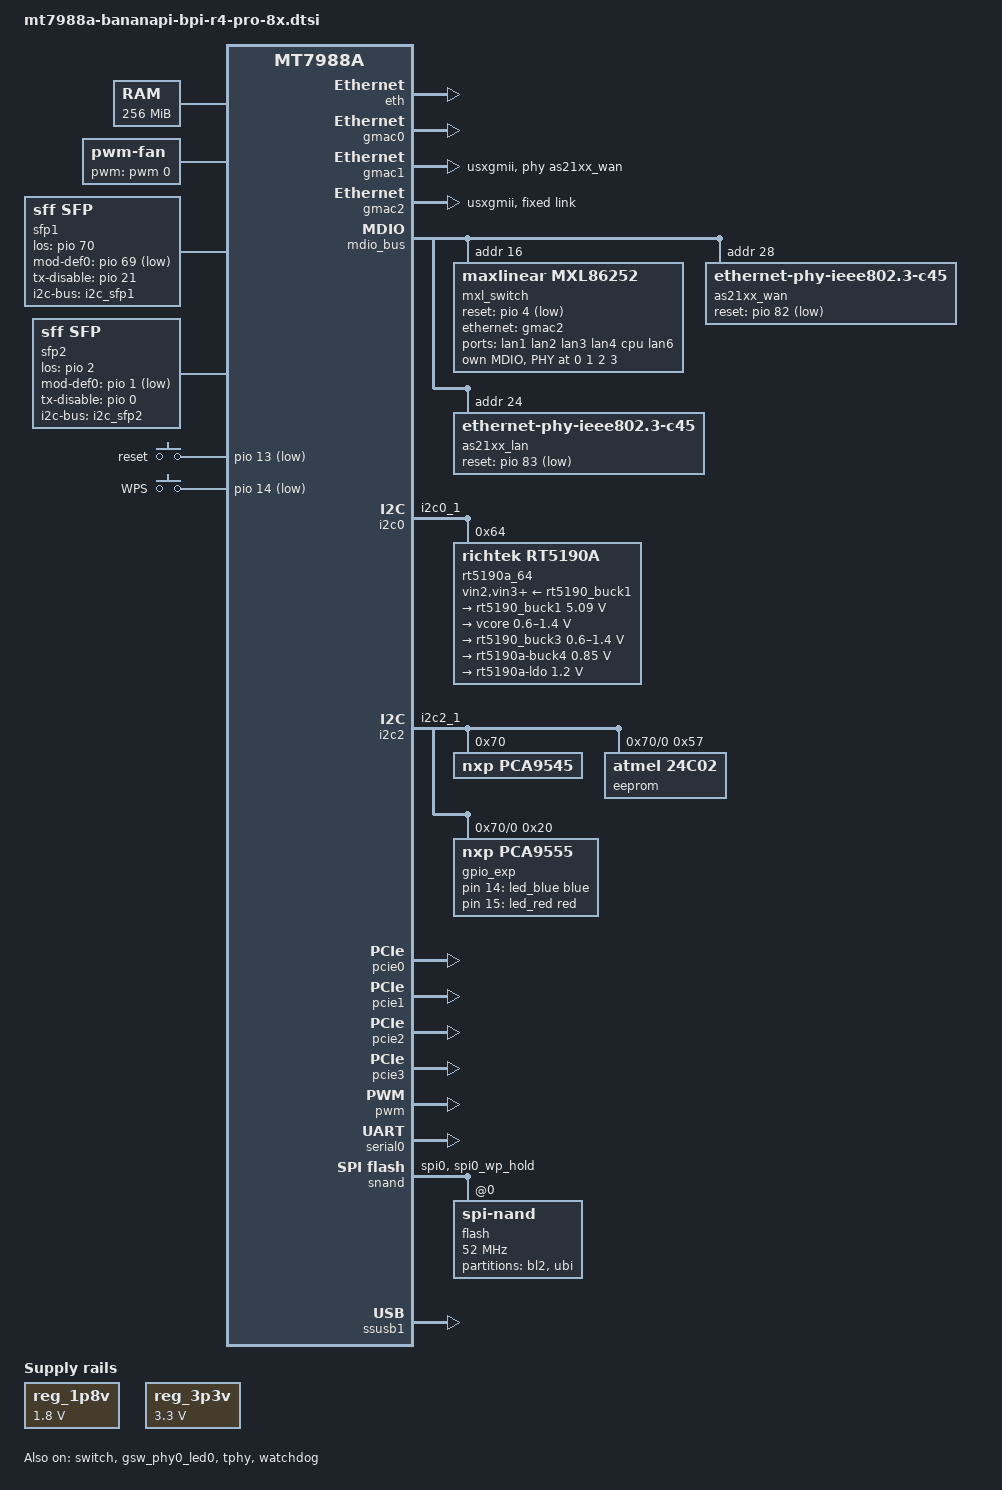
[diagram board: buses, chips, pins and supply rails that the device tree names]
// SPDX-License-Identifier: (GPL-2.0 OR MIT)
/*
 * Copyright (C) 2024 MediaTek Inc.
 * Copyright (C) 2024 Banana Pi community
 *
 * Device tree for the Banana Pi BPI-R4 Pro 8X router board (MT7988A)
 *
 * Hardware overview:
 *   - SoC: MediaTek MT7988A (Filogic 880), Quad Cortex-A73 @ 1.8GHz
 *   - RAM: 8 GB DDR4 (always 8GB on the 8X variant)
 *   - Storage: 8 GB eMMC + 256 MB SPI-NAND + microSD
 *
 * Network topology:
 *   - gmac0 -> Internal MT7988A GbE switch (1 port used: lan5)
 *   - gmac1 (USXGMII_1) -> 10G WAN combo port
 *       Muxed via GPIO3: Low=RJ45 (AS21010P PHY), High=SFP+ cage
 *   - gmac2 (USXGMII_0) -> MxL86252C DSA switch CPU uplink (10G fixed-link)
 *       MxL switch provides:
 *         - 4x 2.5GbE RJ45 LAN ports (lan1-lan4) via internal PHYs
 *         - 1x 10G LAN combo port (lan6) via XPCS1 SerDes
 *           Muxed via GPIO54: Low=SFP+ cage, High=RJ45 (AS21010P PHY)
 *
 * Chassis port labels (left to right):
 *   lan1-lan4 (2.5G MxL), lan5 (1G internal), 10G RJ45 LAN combo,
 *   10G SFP+ LAN combo, 10G SFP+ WAN combo, 10G RJ45 WAN combo
 *
 * Combo port mux control (via UCI gpio_switches, GPIO numbers 515/566):
 *   GPIO3  (515): WAN combo - Low=RJ45, High=SFP+
 *   GPIO54 (566): LAN combo - Low=SFP+, High=RJ45
 */

/dts-v1/;

#include <dt-bindings/gpio/gpio.h>
#include <dt-bindings/input/input.h>
#include <dt-bindings/leds/common.h>
#include <dt-bindings/regulator/richtek,rt5190a-regulator.h>

#include "mt7988a.dtsi"

/ {
	chosen {
		stdout-path = "serial0:115200n8";
		bootargs = "console=ttyS0,115200n1 pci=pcie_bus_perf ubi.block=0,fit root=/dev/fit0";
		rootdisk-spim-nand = <&ubi_rootfs>;
	};

	aliases {
		ethernet0 = &gmac0;
		ethernet1 = &gmac1;
		ethernet2 = &gmac2;
		serial0 = &serial0;
		/* Blue LED = activity/boot/running/upgrade, Red LED = failsafe only */
		led-boot = &led_blue;
		led-failsafe = &led_red;
		led-running = &led_blue;
		led-upgrade = &led_blue;
	};

	/* Default 256MB, U-Boot overrides to actual 8GB at boot */
	memory@40000000 {
		reg = <0x00 0x40000000 0x00 0x10000000>;
		device_type = "memory";
	};

	fan: pwm-fan {
		compatible = "pwm-fan";
		/* cooling level (0, 1, 2, 3) : (0% duty, 30% duty, 50% duty, 100% duty) */
		cooling-levels = <0 80 128 255>;
		#cooling-cells = <2>;
		pwms = <&pwm 0 50000>;
		status = "okay";
	};

	reg_1p8v: regulator-1p8v {
		compatible = "regulator-fixed";
		regulator-name = "fixed-1.8V";
		regulator-min-microvolt = <1800000>;
		regulator-max-microvolt = <1800000>;
		regulator-boot-on;
		regulator-always-on;
	};

	reg_3p3v: regulator-3p3v {
		compatible = "regulator-fixed";
		regulator-name = "fixed-3.3V";
		regulator-min-microvolt = <3300000>;
		regulator-max-microvolt = <3300000>;
		regulator-boot-on;
		regulator-always-on;
	};

	/*
	 * SFP1 cage (WAN side)
	 * Connected to gmac1 (USXGMII_1), shared with AS21010P WAN PHY.
	 * GPIO3 mux selects between SFP+ (High) and RJ45 (Low).
	 * TX_FAULT and RATE_SELECT are not connected on this board.
	 */
	sfp1: sfp1 {
		compatible = "sff,sfp";
		i2c-bus = <&i2c_sfp1>;
		los-gpios = <&pio 70 GPIO_ACTIVE_HIGH>;
		mod-def0-gpios = <&pio 69 GPIO_ACTIVE_LOW>;
		tx-disable-gpios = <&pio 21 GPIO_ACTIVE_HIGH>;
		maximum-power-milliwatt = <3000>;
	};

	/*
	 * SFP2 cage (LAN side)
	 * Connected to MxL86252C XPCS1 SerDes (port@13), shared with AS21010P LAN PHY.
	 * GPIO54 mux selects between SFP+ (Low) and RJ45 (High).
	 * TX_FAULT and RATE_SELECT are not connected on this board.
	 */
	sfp2: sfp2 {
		compatible = "sff,sfp";
		i2c-bus = <&i2c_sfp2>;
		los-gpios = <&pio 2 GPIO_ACTIVE_HIGH>;
		mod-def0-gpios = <&pio 1 GPIO_ACTIVE_LOW>;
		tx-disable-gpios = <&pio 0 GPIO_ACTIVE_HIGH>;
		maximum-power-milliwatt = <3000>;
	};

	gpio-keys {
		compatible = "gpio-keys";

		reset {
			label = "reset";
			linux,code = <KEY_RESTART>;
			gpios = <&pio 13 GPIO_ACTIVE_LOW>;
		};

		wps {
			label = "WPS";
			linux,code = <KEY_WPS_BUTTON>;
			gpios = <&pio 14 GPIO_ACTIVE_LOW>;
		};
	};

	/*
	 * Board status LEDs on PCA9555 GPIO expander (I2C mux ch0, addr 0x20).
	 * Active high polarity (verified on hardware).
	 * Green power LED is hardwired (always on, not controllable).
	 */
	gpio-leds {
		compatible = "gpio-leds";

		led_blue: led-blue {
			function = LED_FUNCTION_ACTIVITY;
			color = <LED_COLOR_ID_BLUE>;
			gpios = <&gpio_exp 14 GPIO_ACTIVE_HIGH>;
			default-state = "off";
		};

		led_red: led-red {
			function = LED_FUNCTION_FAULT;
			color = <LED_COLOR_ID_RED>;
			gpios = <&gpio_exp 15 GPIO_ACTIVE_HIGH>;
			default-state = "off";
		};
	};
};

/* CPU voltage scaling - RT5190A PMIC BUCK3 */
&cpu0 {
	proc-supply = <&rt5190_buck3>;
};

&cpu1 {
	proc-supply = <&rt5190_buck3>;
};

&cpu2 {
	proc-supply = <&rt5190_buck3>;
};

&cpu3 {
	proc-supply = <&rt5190_buck3>;
};

&cci {
	proc-supply = <&rt5190_buck3>;
};

/*
 * Thermal management - 3 active cooling levels + PWM fan.
 * Trips and cooling-maps must be defined here because the base
 * mt7988a.dtsi only provides the critical trip; board-specific
 * active cooling trips are added per-board.
 */
&cpu_thermal {
	trips {
		cpu_trip_active_high: active-high {
			temperature = <115000>;
			hysteresis = <2000>;
			type = "active";
		};

		cpu_trip_active_med: active-med {
			temperature = <85000>;
			hysteresis = <2000>;
			type = "active";
		};

		cpu_trip_active_low: active-low {
			temperature = <40000>;
			hysteresis = <2000>;
			type = "active";
		};
	};

	cooling-maps {
		map-cpu-active-high {
			/* active: set fan to cooling level 3 */
			cooling-device = <&fan 3 3>;
			trip = <&cpu_trip_active_high>;
		};

		map-cpu-active-med {
			/* active: set fan to cooling level 2 */
			cooling-device = <&fan 2 2>;
			trip = <&cpu_trip_active_med>;
		};

		map-cpu-active-low {
			/* active: set fan to cooling level 1 */
			cooling-device = <&fan 1 1>;
			trip = <&cpu_trip_active_low>;
		};
	};
};

&eth {
	status = "okay";
};

/* gmac0 - conduit for internal MT7988A GbE switch (lan5) */
&gmac0 {
	status = "okay";
};

/*
 * gmac1 (USXGMII_1) - WAN 10G combo port
 * Default mode: RJ45 via AS21010P PHY at MDIO address 0x1c.
 * SFP+ mode available by toggling GPIO3 high (via UCI gpio_switch).
 * In-band status used for auto-negotiation (supports 10G/5G/2.5G/1G).
 */
&gmac1 {
	phy-handle = <&as21xx_wan>;
	managed = "in-band-status";
	phy-mode = "usxgmii";
	openwrt,netdev-name = "wan";
	status = "okay";
};

/*
 * gmac2 (USXGMII_0) - MxL86252C DSA switch CPU uplink
 * Fixed 10Gbps link to the switch's XPCS0 SerDes (port@9).
 */
&gmac2 {
	phy-mode = "usxgmii";
	status = "okay";

	fixed-link {
		speed = <10000>;
		full-duplex;
	};
};

/*
 * Internal MT7988A GbE switch - only port 0 is used on R4 Pro 8X.
 * Chassis label: "1Gbps LAN 5"
 * Single amber LED (led0) for link/activity (hardware-controlled by PHY).
 * Green LED (led1) is not connected on this board (marked X on schematic).
 */
&switch {
	status = "okay";
};

&gsw_phy0 {
	pinctrl-names = "gbe-led";
	pinctrl-0 = <&gbe0_led0_pins>;
};

&gsw_port0 {
	label = "lan5";
};

/* lan5 amber LED - hardware controlled, pin 64 on MT7988A */
&gsw_phy0_led0 {
	status = "okay";
	function = LED_FUNCTION_LAN;
	color = <LED_COLOR_ID_AMBER>;
};

/*
 * MaxLinear MxL86252C 2.5GbE DSA switch
 *
 * MDIO bus 0 at address 0x10 (GPIO5=MDC, GPIO6=MDIO).
 * Reset on GPIO4.
 * Separate DSA tree (tree 1) since internal MT7530 uses tree 0.
 *
 * Port numbering: the MxL862xx driver uses 1-based DSA port indices
 * with separate MDIO PHY addresses (0-based). Each port needs an
 * explicit phy-handle referencing the switch's internal MDIO bus.
 *
 * SerDes ports: XPCS0 = port 9, XPCS1 = port 13 (per driver code
 * in pending patch 760-11). Only ports 9 and 13 are valid SerDes
 * entry points.
 */
&mdio_bus {
	mxl_switch: switch@10 {
		compatible = "maxlinear,mxl86252";
		reg = <0x10>;
		dsa,member = <1 0>;
		reset-gpios = <&pio 4 GPIO_ACTIVE_LOW>;
		reset-assert-us = <10000>;
		reset-deassert-us = <50000>;

		/* Internal MDIO bus for MxL86252C built-in 2.5G PHYs */
		mdio {
			#address-cells = <1>;
			#size-cells = <0>;

			mxl_phy0: ethernet-phy@0 {
				reg = <0>;
			};

			mxl_phy1: ethernet-phy@1 {
				reg = <1>;
			};

			mxl_phy2: ethernet-phy@2 {
				reg = <2>;
			};

			mxl_phy3: ethernet-phy@3 {
				reg = <3>;
			};
		};

		ethernet-ports {
			#address-cells = <1>;
			#size-cells = <0>;

			/* Chassis: "2.5Gbps LAN 1" */
			port@1 {
				reg = <1>;
				label = "lan1";
				phy-handle = <&mxl_phy0>;
				phy-mode = "internal";
			};

			/* Chassis: "2.5Gbps LAN 2" */
			port@2 {
				reg = <2>;
				label = "lan2";
				phy-handle = <&mxl_phy1>;
				phy-mode = "internal";
			};

			/* Chassis: "2.5Gbps LAN 3" */
			port@3 {
				reg = <3>;
				label = "lan3";
				phy-handle = <&mxl_phy2>;
				phy-mode = "internal";
			};

			/* Chassis: "2.5Gbps LAN 4" */
			port@4 {
				reg = <4>;
				label = "lan4";
				phy-handle = <&mxl_phy3>;
				phy-mode = "internal";
			};

			/*
			 * CPU port - XPCS0 SerDes uplink to gmac2 (USXGMII_0)
			 * 10Gbps fixed-link to MT7988A.
			 */
			port@9 {
				reg = <9>;
				label = "cpu";
				ethernet = <&gmac2>;
				phy-mode = "usxgmii";

				fixed-link {
					speed = <10000>;
					full-duplex;
				};
			};

			/*
			 * Second SerDes port (XPCS1) - 10G LAN combo
			 * Chassis: "10Gbps RJ45 LAN combo" / "10Gbps SFP+ LAN combo"
			 * Muxed via GPIO54: Low=SFP+, High=RJ45 (AS21010P)
			 * Default: RJ45 mode (GPIO54=High, set by UCI gpio_switch)
			 */
			port@13 {
				reg = <13>;
				label = "lan6";
				phy-mode = "usxgmii";
				phy-handle = <&as21xx_lan>;
				managed = "in-band-status";
			};
		};
	};

	/*
	 * Aeonsemi AS21010P 10G PHYs for combo RJ45/SFP+ ports.
	 * Both on MDIO bus 0. Clause 45 PHYs requiring firmware load.
	 * Firmware file: /lib/firmware/as21x1x_fw.bin
	 * Reset takes ~1 second (reset-deassert-us = 1000000).
	 *
	 * LED mapping (verified on hardware - colors are swapped vs datasheet):
	 *   led@0 = Green (link indicator)
	 *   led@1 = Amber (activity indicator)
	 * LEDs default to off; software triggers in 01_leds activate them.
	 */
	as21xx_wan: ethernet-phy@1c {
		compatible = "ethernet-phy-ieee802.3-c45";
		reg = <0x1c>;
		firmware-name = "as21x1x_fw.bin";
		reset-deassert-us = <1000000>;
		reset-assert-us = <1000000>;
		reset-gpios = <&pio 82 GPIO_ACTIVE_LOW>;

		leds {
			#address-cells = <1>;
			#size-cells = <0>;

			led@0 {
				reg = <0>;
				color = <LED_COLOR_ID_GREEN>;
				function = LED_FUNCTION_WAN;
				default-state = "off";
			};

			led@1 {
				reg = <1>;
				color = <LED_COLOR_ID_AMBER>;
				function = LED_FUNCTION_WAN;
				default-state = "off";
			};
		};
	};

	as21xx_lan: ethernet-phy@18 {
		compatible = "ethernet-phy-ieee802.3-c45";
		reg = <0x18>;
		firmware-name = "as21x1x_fw.bin";
		reset-deassert-us = <1000000>;
		reset-assert-us = <1000000>;
		reset-gpios = <&pio 83 GPIO_ACTIVE_LOW>;

		leds {
			#address-cells = <1>;
			#size-cells = <0>;

			led@0 {
				reg = <0>;
				color = <LED_COLOR_ID_GREEN>;
				function = LED_FUNCTION_LAN;
				default-state = "off";
			};

			led@1 {
				reg = <1>;
				color = <LED_COLOR_ID_AMBER>;
				function = LED_FUNCTION_LAN;
				default-state = "off";
			};
		};
	};
};

/* RT5190A PMIC on I2C bus 0 */
&i2c0 {
	pinctrl-names = "default";
	pinctrl-0 = <&i2c0_pins>;
	status = "okay";

	rt5190a_64: rt5190a@64 {
		compatible = "richtek,rt5190a";
		reg = <0x64>;
		vin2-supply = <&rt5190_buck1>;
		vin3-supply = <&rt5190_buck1>;
		vin4-supply = <&rt5190_buck1>;

		regulators {
			rt5190_buck1: BUCK1 {
				regulator-name = "rt5190a-buck1";
				regulator-min-microvolt = <5090000>;
				regulator-max-microvolt = <5090000>;
				regulator-always-on;
				regulator-boot-on;
			};

			BUCK2 {
				regulator-name = "vcore";
				regulator-min-microvolt = <600000>;
				regulator-max-microvolt = <1400000>;
				regulator-boot-on;
				regulator-always-on;
			};

			rt5190_buck3: BUCK3 {
				regulator-name = "proc";
				regulator-min-microvolt = <600000>;
				regulator-max-microvolt = <1400000>;
				regulator-boot-on;
				regulator-always-on;
			};

			BUCK4 {
				regulator-name = "rt5190a-buck4";
				regulator-min-microvolt = <850000>;
				regulator-max-microvolt = <850000>;
				regulator-always-on;
				regulator-boot-on;
			};

			LDO {
				regulator-name = "rt5190a-ldo";
				regulator-min-microvolt = <1200000>;
				regulator-max-microvolt = <1200000>;
				regulator-always-on;
				regulator-boot-on;
			};
		};
	};
};

/*
 * I2C mux (PCA9545) on I2C bus 2, address 0x70 (GPIO71=SCL, GPIO72=SDA).
 * 4 channels:
 *   Ch0 (i2c-3): RTC PCF8563 @ 0x50, EEPROM AT24C02 @ 0x57,
 *                PCA9555 GPIO expander @ 0x20 (board LEDs)
 *   Ch1 (i2c-4): SFP1 WAN cage I2C
 *   Ch2 (i2c-5): SFP2 LAN cage I2C
 *   Ch3 (i2c-6): WiFi EEPROM @ 0x51 (BPI-R4-NIC-BE14 module)
 */
&i2c2 {
	pinctrl-names = "default";
	pinctrl-0 = <&i2c2_1_pins>;
	status = "okay";

	pca9545: pca9545@70 {
		compatible = "nxp,pca9545";
		reg = <0x70>;
		#address-cells = <1>;
		#size-cells = <0>;

		/* Channel 0: RTC, EEPROM, GPIO expander */
		i2c@0 {
			#address-cells = <1>;
			#size-cells = <0>;
			reg = <0>;

			/* RTC - enabled via mt7988a-bananapi-bpi-r4-pro-8x-rtc.dtso overlay */
			pcf8563: pcf8563@50 {
				compatible = "nxp,pcf8563";
				reg = <0x50>;
				status = "disabled";
			};

			eeprom@57 {
				compatible = "atmel,24c02";
				reg = <0x57>;
				size = <256>;
				pagesize = <8>;
			};

			/* PCA9555 GPIO expander - drives board blue/red status LEDs */
			gpio_exp: pca9555@20 {
				compatible = "nxp,pca9555";
				reg = <0x20>;
				gpio-controller;
				#gpio-cells = <2>;
			};
		};

		/* Channel 1: SFP1 WAN cage */
		i2c_sfp1: i2c@1 {
			#address-cells = <1>;
			#size-cells = <0>;
			reg = <1>;
		};

		/* Channel 2: SFP2 LAN cage */
		i2c_sfp2: i2c@2 {
			#address-cells = <1>;
			#size-cells = <0>;
			reg = <2>;
		};

		/* Channel 3: WiFi module EEPROM (BPI-R4-NIC-BE14 @ 0x51) */
		i2c_wifi: i2c@3 {
			#address-cells = <1>;
			#size-cells = <0>;
			reg = <3>;
			status = "disabled";
		};
	};
};

/* PCIe controllers - all 4 enabled for WiFi, NVMe, and 5G modem slots */
&pcie0 {
	status = "okay";
};

&pcie1 {
	status = "okay";
};

/*
 * WiFi 7 MT7996 (BPI-R4-NIC-BE14) on pcie2 — W2G + W5G LEDs
 * TODO: WiFi chassis LEDs (W2G pin 46, W5G pin 42) are driven by
 * the MT7996 chip's LED controller. PCI OF node matching doesn't
 * work on MT7988A, so LEDs can't be configured via DTS yet.
 */
&pcie2 {
	status = "okay";
};

/*
 * WiFi 7 MT7996 HIF (BPI-R4-NIC-BE14) on pcie3 — W6G LED
 * TODO: Same OF node matching issue as pcie2.
 */
&pcie3 {
	status = "okay";
};

/*
 * Pin controller - defines pin groups used by peripherals.
 * I2C and LED pin groups must be defined here because the base
 * mt7988a.dtsi references them but they were moved to per-board
 * DTS by patch 170.
 */
&pio {
	i2c0_pins: i2c0-g0-pins {
		mux {
			function = "i2c";
			groups = "i2c0_1";
		};
	};

	i2c2_1_pins: i2c2-g1-pins {
		mux {
			function = "i2c";
			groups = "i2c2_1";
		};
	};

	/* lan5 amber LED - pin 64 on MT7988A */
	gbe0_led0_pins: gbe0-led0-pins {
		mux {
			function = "led";
			groups = "gbe0_led0";
		};
	};

	i2p5gbe_led0_pins: 2p5gbe-led0-pins {
		mux {
			function = "led";
			groups = "2p5gbe_led0";
		};
	};

	mmc0_pins_emmc_51: mmc0-emmc-51-pins {
		mux {
			function = "flash";
			groups = "emmc_51";
		};
	};

	mmc0_pins_sdcard: mmc0-sdcard-pins {
		mux {
			function = "flash";
			groups = "sdcard";
		};
	};

	spi0_flash_pins: spi0-flash-pins {
		mux {
			function = "spi";
			groups = "spi0", "spi0_wp_hold";
		};
	};
};

&pwm {
	status = "okay";
};

&serial0 {
	status = "okay";
};

/* SPI-NAND flash - 256MB with BL2 + UBI partitions */
&snand {
	pinctrl-names = "default";
	pinctrl-0 = <&spi0_flash_pins>;
	status = "okay";

	flash@0 {
		compatible = "spi-nand";
		reg = <0>;
		spi-max-frequency = <52000000>;
		spi-tx-bus-width = <4>;
		spi-rx-bus-width = <4>;

		partitions {
			compatible = "fixed-partitions";
			#address-cells = <1>;
			#size-cells = <1>;

			partition@0 {
				label = "bl2";
				reg = <0x0 0x200000>;
				read-only;
			};

			partition@200000 {
				label = "ubi";
				reg = <0x200000 0x7e00000>;
				compatible = "linux,ubi";

				volumes {
					ubi-volume-ubootenv {
						volname = "ubootenv";
						nvmem-layout {
							compatible = "u-boot,env-redundant-bool-layout";
						};
					};

					ubi-volume-ubootenv2 {
						volname = "ubootenv2";
						nvmem-layout {
							compatible = "u-boot,env-redundant-bool-layout";
						};
					};

					ubi_rootfs: ubi-volume-fit {
						volname = "fit";
					};
				};
			};
		};
	};
};

&ssusb1 {
	status = "okay";
};

&tphy {
	status = "okay";
};

&watchdog {
	status = "okay";
};
